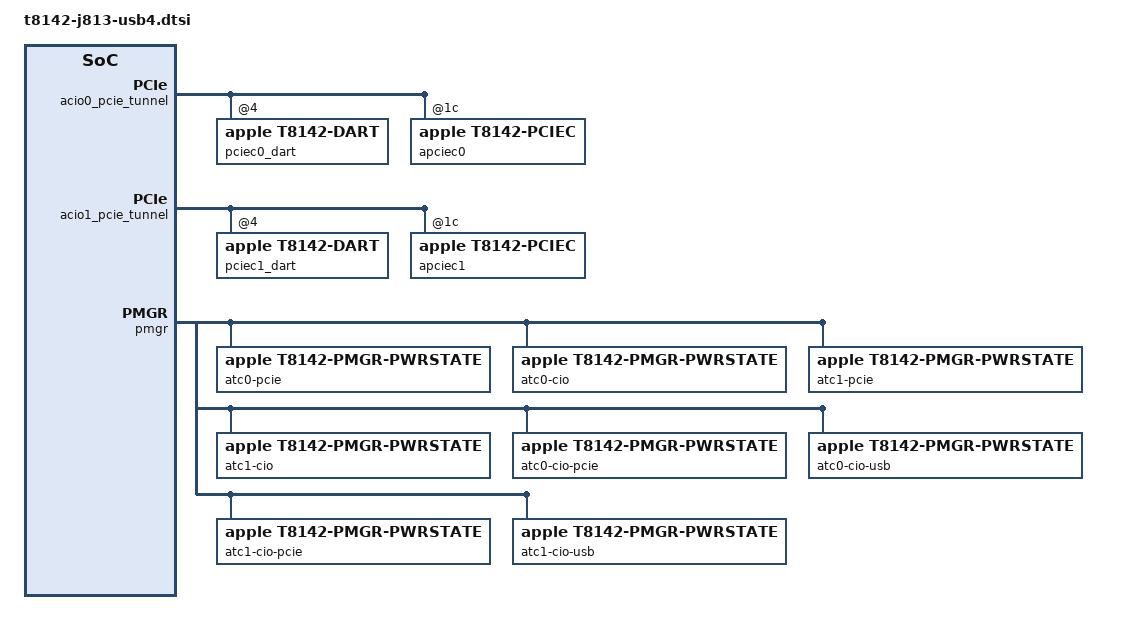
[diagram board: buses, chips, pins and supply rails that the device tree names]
// SPDX-License-Identifier: GPL-2.0+ OR MIT
/*
 * J813 USB-C ports: the ACIO0 (front) and ACIO1 (rear) routers and their
 * PCIe-C tunnels.
 */

/ {
	aliases {

		/* aura copies the router tunables here, the AP firmware one too. */
		usb4-0-acio = &acio0;

		usb4-0-pcie-adapter = &acio0;

		usb4-0-nhi = &acio0_nhi;

		/* aura copies the PCIe-C tunables here (needs aura#302). */
		usb4-0-pcie = &apciec0;

		/* aura copies the router tunables here, the AP firmware one too. */
		usb4-1-acio = &acio1;

		usb4-1-pcie-adapter = &acio1;

		usb4-1-nhi = &acio1_nhi;

		/* aura copies the PCIe-C tunables here (needs aura#302). */
		usb4-1-pcie = &apciec1;
	};
};

&pmgr {

	ps_atc0_pcie: power-controller@3c8 {
		compatible = "apple,t8142-pmgr-pwrstate", "apple,t8103-pmgr-pwrstate";
		reg = <0x3c8 4>;
		#power-domain-cells = <0>;
		#reset-cells = <0>;
		power-domains = <&ps_atc0_common>, <&ps_atc0_usb_aon>;
		label = "atc0-pcie";
	};

	ps_atc0_cio: power-controller@3d0 {
		compatible = "apple,t8142-pmgr-pwrstate", "apple,t8103-pmgr-pwrstate";
		reg = <0x3d0 4>;
		#power-domain-cells = <0>;
		#reset-cells = <0>;
		power-domains = <&ps_atc0_common>;
		label = "atc0-cio";
	};

	ps_atc1_pcie: power-controller@3d8 {
		compatible = "apple,t8142-pmgr-pwrstate", "apple,t8103-pmgr-pwrstate";
		reg = <0x3d8 4>;
		#power-domain-cells = <0>;
		#reset-cells = <0>;
		power-domains = <&ps_atc1_common>, <&ps_atc1_usb_aon>;
		label = "atc1-pcie";
	};

	ps_atc1_cio: power-controller@3e0 {
		compatible = "apple,t8142-pmgr-pwrstate", "apple,t8103-pmgr-pwrstate";
		reg = <0x3e0 4>;
		#power-domain-cells = <0>;
		#reset-cells = <0>;
		power-domains = <&ps_atc1_common>;
		label = "atc1-cio";
	};

	ps_atc0_cio_pcie: power-controller@4d8 {
		compatible = "apple,t8142-pmgr-pwrstate", "apple,t8103-pmgr-pwrstate";
		reg = <0x4d8 4>;
		#power-domain-cells = <0>;
		#reset-cells = <0>;
		power-domains = <&ps_atc0_cio>;
		label = "atc0-cio-pcie";
	};

	ps_atc0_cio_usb: power-controller@4e0 {
		compatible = "apple,t8142-pmgr-pwrstate", "apple,t8103-pmgr-pwrstate";
		reg = <0x4e0 4>;
		#power-domain-cells = <0>;
		#reset-cells = <0>;
		power-domains = <&ps_atc0_cio>;
		label = "atc0-cio-usb";
	};

	ps_atc1_cio_pcie: power-controller@4e8 {
		compatible = "apple,t8142-pmgr-pwrstate", "apple,t8103-pmgr-pwrstate";
		reg = <0x4e8 4>;
		#power-domain-cells = <0>;
		#reset-cells = <0>;
		power-domains = <&ps_atc1_cio>;
		label = "atc1-cio-pcie";
	};

	ps_atc1_cio_usb: power-controller@4f0 {
		compatible = "apple,t8142-pmgr-pwrstate", "apple,t8103-pmgr-pwrstate";
		reg = <0x4f0 4>;
		#power-domain-cells = <0>;
		#reset-cells = <0>;
		power-domains = <&ps_atc1_cio>;
		label = "atc1-cio-usb";
	};
};

/* Populate these DARTs only after their parent is powered and configured. */
/delete-node/ &acio0_dart;
/delete-node/ &pciec0_dart;
/delete-node/ &acio1_dart;
/delete-node/ &pciec1_dart;

&{/soc} {

	cio_reset: reset-controller@380780000 {
		compatible = "apple,t8142-cio-reset";
		reg = <0x3 0x80780000 0x0 0x4000>;
		#reset-cells = <1>;
	};

	pinctrl_aop: pinctrl@390824000 {
		compatible = "apple,t8142-pinctrl", "apple,t8140-pinctrl", "apple,t8103-pinctrl";
		reg = <0x3 0x90824000 0x0 0x4000>;
		gpio-controller;
		#gpio-cells = <2>;
		gpio-ranges = <&pinctrl_aop 0 0 77>;
		apple,npins = <77>;

		/* Only LSTX pins 19 and 21 are ours; the AOP owns the rest of this bank. */
		gpio-reserved-ranges = <0 19>, <20 1>, <22 55>;
		interrupt-controller;
		#interrupt-cells = <2>;
		interrupts = <AIC_IRQ 483 IRQ_TYPE_LEVEL_HIGH>,
			     <AIC_IRQ 484 IRQ_TYPE_LEVEL_HIGH>,
			     <AIC_IRQ 485 IRQ_TYPE_LEVEL_HIGH>,
			     <AIC_IRQ 486 IRQ_TYPE_LEVEL_HIGH>;
		apple,irq-group-base = <3>;

		acio0_lstx_pins: acio0-lstx-pins {
			pinmux = <0x10013>;
		};

		acio1_lstx_pins: acio1-lstx-pins {
			pinmux = <0x10015>;
		};
	};

	acio0_mbox: mailbox@401108000 {
		compatible = "apple,t8142-asc-mailbox", "apple,asc-mailbox-v4";
		reg = <0x4 0x01108000 0x0 0x4000>;
		interrupts = <AIC_IRQ 1548 IRQ_TYPE_LEVEL_HIGH>,
			     <AIC_IRQ 1549 IRQ_TYPE_LEVEL_HIGH>,
			     <AIC_IRQ 1550 IRQ_TYPE_LEVEL_HIGH>,
			     <AIC_IRQ 1551 IRQ_TYPE_LEVEL_HIGH>;
		interrupt-names = "send-empty", "send-not-empty",
				  "recv-empty", "recv-not-empty";
		#mbox-cells = <0>;
	};

	/* acio@ avoids the bootloader's legacy cio@ register-index fixup. */
	acio0: acio@401ac0000 {
		compatible = "apple,t8142-usb4-acio";
		reg = <0x4 0x01ac0000 0x0 0xc000>,
		      <0x4 0x01080000 0x0 0x26000>,
		      <0x4 0x01e44000 0x0 0x4000>,
		      <0x4 0x01100000 0x0 0x4000>,
		      <0x4 0x01c80000 0x0 0x4000>;
		reg-names = "rc", "sram", "pcie-adapter", "cpu", "router-ap-fw";
		mboxes = <&acio0_mbox>;
		resets = <&cio_reset 0>;

		power-domains = <&ps_atc0_cio>, <&ps_atc0_cio_pcie>,
				<&ps_atc0_cio_usb>, <&ps_atc0_pcie>;
		thunderbolt-switch;
		apple,pcie-tunnel = <&acio0_pcie_tunnel>;

		pinctrl-0 = <&acio0_lstx_pins>;
		pinctrl-names = "lstx";
		lstx-gpios = <&pinctrl_aop 19 GPIO_ACTIVE_HIGH>;

		#address-cells = <1>;
		#size-cells = <1>;
		ranges = <0x0 0x4 0x01000000 0x1000000>;
		nonposted-mmio;

		ports {
			#address-cells = <1>;
			#size-cells = <0>;

			port@1 {
				reg = <1>;
				acio0_tbt: endpoint {
					remote-endpoint = <&typec0_usb4>;
				};
			};
		};

		acio0_dart: iommu@a80000 {
			compatible = "apple,t8142-dart", "apple,t8110-dart";
			reg = <0xa80000 0xc000>;
			interrupts = <AIC_IRQ 1546 IRQ_TYPE_LEVEL_HIGH>;
			power-domains = <&ps_atc0_cio>;
			#iommu-cells = <1>;
			apple,dma-range = <0x100 0x4000 0x0 0xffff0000>;
			apple,bypass-sids = <15>;
			apple,full-error-reporting;
			apple,ctc-flush;
		};

		acio0_nhi: nhi@f00000 {
			compatible = "apple,t8142-usb4-nhi";
			reg = <0xf00000 0x100000>;
			reg-names = "nhi";
			interrupts = <AIC_IRQ 1519 IRQ_TYPE_LEVEL_HIGH>,
				     <AIC_IRQ 1520 IRQ_TYPE_LEVEL_HIGH>,
				     <AIC_IRQ 1521 IRQ_TYPE_LEVEL_HIGH>,
				     <AIC_IRQ 1522 IRQ_TYPE_LEVEL_HIGH>,
				     <AIC_IRQ 1523 IRQ_TYPE_LEVEL_HIGH>,
				     <AIC_IRQ 1524 IRQ_TYPE_LEVEL_HIGH>,
				     <AIC_IRQ 1525 IRQ_TYPE_LEVEL_HIGH>,
				     <AIC_IRQ 1526 IRQ_TYPE_LEVEL_HIGH>,
				     <AIC_IRQ 1527 IRQ_TYPE_LEVEL_HIGH>,
				     <AIC_IRQ 1528 IRQ_TYPE_LEVEL_HIGH>,
				     <AIC_IRQ 1529 IRQ_TYPE_LEVEL_HIGH>,
				     <AIC_IRQ 1530 IRQ_TYPE_LEVEL_HIGH>,
				     <AIC_IRQ 1531 IRQ_TYPE_LEVEL_HIGH>,
				     <AIC_IRQ 1532 IRQ_TYPE_LEVEL_HIGH>,
				     <AIC_IRQ 1533 IRQ_TYPE_LEVEL_HIGH>,
				     <AIC_IRQ 1534 IRQ_TYPE_LEVEL_HIGH>,
				     <AIC_IRQ 1535 IRQ_TYPE_LEVEL_HIGH>,
				     <AIC_IRQ 1536 IRQ_TYPE_LEVEL_HIGH>,
				     <AIC_IRQ 1537 IRQ_TYPE_LEVEL_HIGH>,
				     <AIC_IRQ 1538 IRQ_TYPE_LEVEL_HIGH>,
				     <AIC_IRQ 1539 IRQ_TYPE_LEVEL_HIGH>,
				     <AIC_IRQ 1540 IRQ_TYPE_LEVEL_HIGH>,
				     <AIC_IRQ 1541 IRQ_TYPE_LEVEL_HIGH>,
				     <AIC_IRQ 1542 IRQ_TYPE_LEVEL_HIGH>;
			interrupt-names = "txring0", "txring1", "txring2", "txring3",
					  "txring4", "txring5", "txring6", "txring7",
					  "txring8", "txring9", "txring10", "txring11",
					  "rxring0", "rxring1", "rxring2", "rxring3",
					  "rxring4", "rxring5", "rxring6", "rxring7",
					  "rxring8", "rxring9", "rxring10", "rxring11";

			iommus = <&acio0_dart 0>, <&acio0_dart 1>, <&acio0_dart 2>,
				 <&acio0_dart 3>, <&acio0_dart 4>, <&acio0_dart 5>,
				 <&acio0_dart 6>, <&acio0_dart 7>, <&acio0_dart 8>,
				 <&acio0_dart 9>, <&acio0_dart 10>, <&acio0_dart 11>,
				 <&acio0_dart 16>, <&acio0_dart 17>, <&acio0_dart 18>,
				 <&acio0_dart 19>, <&acio0_dart 20>, <&acio0_dart 21>,
				 <&acio0_dart 22>, <&acio0_dart 23>, <&acio0_dart 24>,
				 <&acio0_dart 25>, <&acio0_dart 26>, <&acio0_dart 27>;

			/* Filled by the bootloader. */
			apple,thunderbolt-drom = [00];
		};
	};

	acio1_mbox: mailbox@409108000 {
		compatible = "apple,t8142-asc-mailbox", "apple,asc-mailbox-v4";
		reg = <0x4 0x09108000 0x0 0x4000>;
		interrupts = <AIC_IRQ 1611 IRQ_TYPE_LEVEL_HIGH>,
			     <AIC_IRQ 1612 IRQ_TYPE_LEVEL_HIGH>,
			     <AIC_IRQ 1613 IRQ_TYPE_LEVEL_HIGH>,
			     <AIC_IRQ 1614 IRQ_TYPE_LEVEL_HIGH>;
		interrupt-names = "send-empty", "send-not-empty",
				  "recv-empty", "recv-not-empty";
		#mbox-cells = <0>;
	};

	/* acio@ avoids the bootloader's legacy cio@ register-index fixup. */
	acio1: acio@409ac0000 {
		compatible = "apple,t8142-usb4-acio";
		reg = <0x4 0x09ac0000 0x0 0xc000>,
		      <0x4 0x09080000 0x0 0x26000>,
		      <0x4 0x09e44000 0x0 0x4000>,
		      <0x4 0x09100000 0x0 0x4000>,
		      <0x4 0x09c80000 0x0 0x4000>;
		reg-names = "rc", "sram", "pcie-adapter", "cpu", "router-ap-fw";
		mboxes = <&acio1_mbox>;
		resets = <&cio_reset 1>;

		power-domains = <&ps_atc1_cio>, <&ps_atc1_cio_pcie>,
				<&ps_atc1_cio_usb>, <&ps_atc1_pcie>;
		thunderbolt-switch;
		apple,pcie-tunnel = <&acio1_pcie_tunnel>;

		pinctrl-0 = <&acio1_lstx_pins>;
		pinctrl-names = "lstx";
		lstx-gpios = <&pinctrl_aop 21 GPIO_ACTIVE_HIGH>;

		#address-cells = <1>;
		#size-cells = <1>;
		ranges = <0x0 0x4 0x09000000 0x1000000>;
		nonposted-mmio;

		ports {
			#address-cells = <1>;
			#size-cells = <0>;

			port@1 {
				reg = <1>;
				acio1_tbt: endpoint {
					remote-endpoint = <&typec1_usb4>;
				};
			};
		};

		acio1_dart: iommu@a80000 {
			compatible = "apple,t8142-dart", "apple,t8110-dart";
			reg = <0xa80000 0xc000>;
			interrupts = <AIC_IRQ 1609 IRQ_TYPE_LEVEL_HIGH>;
			power-domains = <&ps_atc1_cio>;
			#iommu-cells = <1>;
			apple,dma-range = <0x100 0x4000 0x0 0xffff0000>;
			apple,bypass-sids = <15>;
			apple,full-error-reporting;
			apple,ctc-flush;
		};

		acio1_nhi: nhi@f00000 {
			compatible = "apple,t8142-usb4-nhi";
			reg = <0xf00000 0x100000>;
			reg-names = "nhi";
			interrupts = <AIC_IRQ 1582 IRQ_TYPE_LEVEL_HIGH>,
				     <AIC_IRQ 1583 IRQ_TYPE_LEVEL_HIGH>,
				     <AIC_IRQ 1584 IRQ_TYPE_LEVEL_HIGH>,
				     <AIC_IRQ 1585 IRQ_TYPE_LEVEL_HIGH>,
				     <AIC_IRQ 1586 IRQ_TYPE_LEVEL_HIGH>,
				     <AIC_IRQ 1587 IRQ_TYPE_LEVEL_HIGH>,
				     <AIC_IRQ 1588 IRQ_TYPE_LEVEL_HIGH>,
				     <AIC_IRQ 1589 IRQ_TYPE_LEVEL_HIGH>,
				     <AIC_IRQ 1590 IRQ_TYPE_LEVEL_HIGH>,
				     <AIC_IRQ 1591 IRQ_TYPE_LEVEL_HIGH>,
				     <AIC_IRQ 1592 IRQ_TYPE_LEVEL_HIGH>,
				     <AIC_IRQ 1593 IRQ_TYPE_LEVEL_HIGH>,
				     <AIC_IRQ 1594 IRQ_TYPE_LEVEL_HIGH>,
				     <AIC_IRQ 1595 IRQ_TYPE_LEVEL_HIGH>,
				     <AIC_IRQ 1596 IRQ_TYPE_LEVEL_HIGH>,
				     <AIC_IRQ 1597 IRQ_TYPE_LEVEL_HIGH>,
				     <AIC_IRQ 1598 IRQ_TYPE_LEVEL_HIGH>,
				     <AIC_IRQ 1599 IRQ_TYPE_LEVEL_HIGH>,
				     <AIC_IRQ 1600 IRQ_TYPE_LEVEL_HIGH>,
				     <AIC_IRQ 1601 IRQ_TYPE_LEVEL_HIGH>,
				     <AIC_IRQ 1602 IRQ_TYPE_LEVEL_HIGH>,
				     <AIC_IRQ 1603 IRQ_TYPE_LEVEL_HIGH>,
				     <AIC_IRQ 1604 IRQ_TYPE_LEVEL_HIGH>,
				     <AIC_IRQ 1605 IRQ_TYPE_LEVEL_HIGH>;
			interrupt-names = "txring0", "txring1", "txring2", "txring3",
					  "txring4", "txring5", "txring6", "txring7",
					  "txring8", "txring9", "txring10", "txring11",
					  "rxring0", "rxring1", "rxring2", "rxring3",
					  "rxring4", "rxring5", "rxring6", "rxring7",
					  "rxring8", "rxring9", "rxring10", "rxring11";

			iommus = <&acio1_dart 0>, <&acio1_dart 1>, <&acio1_dart 2>,
				 <&acio1_dart 3>, <&acio1_dart 4>, <&acio1_dart 5>,
				 <&acio1_dart 6>, <&acio1_dart 7>, <&acio1_dart 8>,
				 <&acio1_dart 9>, <&acio1_dart 10>, <&acio1_dart 11>,
				 <&acio1_dart 16>, <&acio1_dart 17>, <&acio1_dart 18>,
				 <&acio1_dart 19>, <&acio1_dart 20>, <&acio1_dart 21>,
				 <&acio1_dart 22>, <&acio1_dart 23>, <&acio1_dart 24>,
				 <&acio1_dart 25>, <&acio1_dart 26>, <&acio1_dart 27>;

			/* Filled by the bootloader. */
			apple,thunderbolt-drom = [00];
		};
	};
};

/ {
	acio0_pcie_tunnel: pcie-tunnel-0 {
		#address-cells = <2>;
		#size-cells = <2>;
		ranges;
		nonposted-mmio;

		pciec0_dart: iommu@404000000 {
			compatible = "apple,t8142-dart", "apple,t8110-dart";
			reg = <0x4 0x04000000 0x0 0xc000>;
			interrupts = <AIC_IRQ 1500 IRQ_TYPE_LEVEL_HIGH>;
			power-domains = <&ps_atc0_pcie>;
			#iommu-cells = <1>;
			apple,bypass-sids = <253 255>;
			apple,full-error-reporting;
			apple,ctc-flush;
		};

		apciec0: pcie@1c50000000 {
			compatible = "apple,t8142-pciec";
			device_type = "pci";
			reg = <0x1c 0x50000000 0x0 0x10000000>,
			      <0x4 0x04034000 0x0 0x4000>,
			      <0x4 0x04020000 0x0 0x8000>,
			      <0x4 0x04038000 0x0 0x4000>,
			      <0x4 0x04060000 0x0 0x4000>,
			      <0x4 0x0402c000 0x0 0x4000>,
			      <0x4 0x04028000 0x0 0x4000>;
			reg-names = "config", "rc", "port0", "fabric", "debug", "ltssm", "intr2axi";
			interrupts = <AIC_IRQ 1499 IRQ_TYPE_LEVEL_HIGH>;
			power-domains = <&ps_atc0_pcie>;

			apple,pciec-kernel-init;

			msi-controller;
			msi-parent = <&apciec0>;
			msi-ranges = <&aic AIC_IRQ 1837 IRQ_TYPE_EDGE_RISING 32>;
			apple,msi-vector-base = <96>;

			iommu-map = <0x0 &pciec0_dart 0x0 0x40>;
			iommu-map-mask = <0x3f>;

			linux,pci-domain = <1>;

			bus-range = <0x0 0x7f>;
			#address-cells = <3>;
			#size-cells = <2>;

			ranges = <0x43000000 0x8 0x0 0x8 0x0 0x2 0x0>,
				 <0x02000000 0x0 0x00100000 0xa 0x00100000 0x0 0x3ff00000>,
				 <0x42000000 0x0 0x40000000 0xa 0x40000000 0x0 0x40000000>;

			apciec0_port: pci@0,0 {
				device_type = "pci";
				reg = <0x0 0x0 0x0 0x0 0x0>;
				external-facing;

				#address-cells = <3>;
				#size-cells = <2>;
				ranges;

				interrupt-controller;
				#interrupt-cells = <1>;
				interrupt-map-mask = <0 0 0 7>;
				interrupt-map = <0 0 0 1 &apciec0_port 0 0 0 0>,
						<0 0 0 2 &apciec0_port 0 0 0 1>,
						<0 0 0 3 &apciec0_port 0 0 0 2>,
						<0 0 0 4 &apciec0_port 0 0 0 3>;
			};
		};
	};

	acio1_pcie_tunnel: pcie-tunnel-1 {
		#address-cells = <2>;
		#size-cells = <2>;
		ranges;
		nonposted-mmio;

		pciec1_dart: iommu@40c000000 {
			compatible = "apple,t8142-dart", "apple,t8110-dart";
			reg = <0x4 0x0c000000 0x0 0xc000>;
			interrupts = <AIC_IRQ 1563 IRQ_TYPE_LEVEL_HIGH>;
			power-domains = <&ps_atc1_pcie>;
			#iommu-cells = <1>;
			apple,bypass-sids = <253 255>;
			apple,full-error-reporting;
			apple,ctc-flush;
		};

		apciec1: pcie@1c60000000 {
			compatible = "apple,t8142-pciec";
			device_type = "pci";
			reg = <0x1c 0x60000000 0x0 0x10000000>,
			      <0x4 0x0c034000 0x0 0x4000>,
			      <0x4 0x0c020000 0x0 0x8000>,
			      <0x4 0x0c038000 0x0 0x4000>,
			      <0x4 0x0c060000 0x0 0x4000>,
			      <0x4 0x0c02c000 0x0 0x4000>,
			      <0x4 0x0c028000 0x0 0x4000>;
			reg-names = "config", "rc", "port0", "fabric", "debug", "ltssm", "intr2axi";
			interrupts = <AIC_IRQ 1562 IRQ_TYPE_LEVEL_HIGH>;
			power-domains = <&ps_atc1_pcie>;

			apple,pciec-kernel-init;

			msi-controller;
			msi-parent = <&apciec1>;
			msi-ranges = <&aic AIC_IRQ 1869 IRQ_TYPE_EDGE_RISING 32>;
			apple,msi-vector-base = <128>;

			iommu-map = <0x0 &pciec1_dart 0x0 0x40>;
			iommu-map-mask = <0x3f>;

			linux,pci-domain = <2>;

			bus-range = <0x0 0x7f>;
			#address-cells = <3>;
			#size-cells = <2>;

			ranges = <0x43000000 0xc 0x0 0xc 0x0 0x2 0x0>,
				 <0x02000000 0x0 0x00100000 0xe 0x00100000 0x0 0x3ff00000>,
				 <0x42000000 0x0 0x40000000 0xe 0x40000000 0x0 0x40000000>;

			apciec1_port: pci@0,0 {
				device_type = "pci";
				reg = <0x0 0x0 0x0 0x0 0x0>;
				external-facing;

				#address-cells = <3>;
				#size-cells = <2>;
				ranges;

				interrupt-controller;
				#interrupt-cells = <1>;
				interrupt-map-mask = <0 0 0 7>;
				interrupt-map = <0 0 0 1 &apciec1_port 0 0 0 0>,
						<0 0 0 2 &apciec1_port 0 0 0 1>,
						<0 0 0 3 &apciec1_port 0 0 0 2>,
						<0 0 0 4 &apciec1_port 0 0 0 3>;
			};
		};
	};
};

/* Port 3 of each connector is the board's DisplayPort alternate-mode route. */
&typec0 {
	ports {
		port@4 {
			reg = <4>;
			typec0_usb4: endpoint {
				remote-endpoint = <&acio0_tbt>;
			};
		};
	};
};

&typec1 {
	ports {
		port@4 {
			reg = <4>;
			typec1_usb4: endpoint {
				remote-endpoint = <&acio1_tbt>;
			};
		};
	};
};
